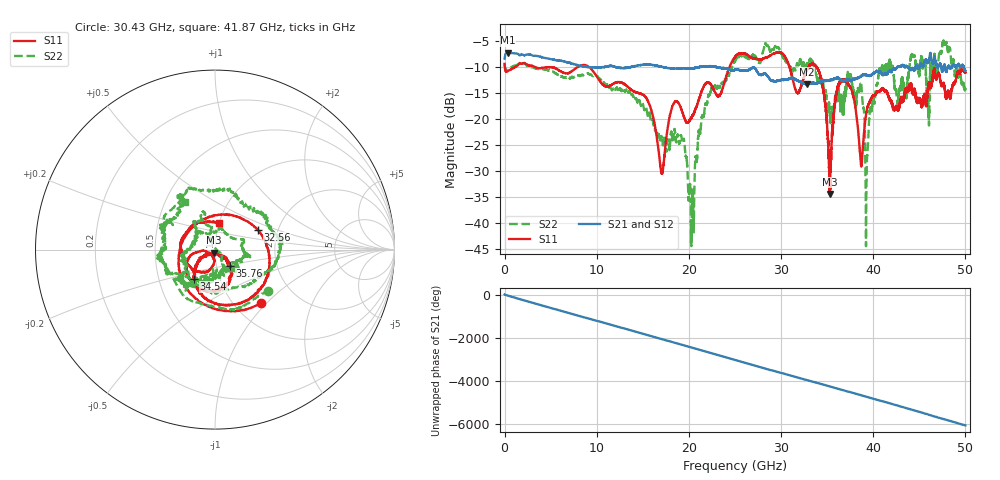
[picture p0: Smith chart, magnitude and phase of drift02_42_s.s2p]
!Created with skrf (http://scikit-rf.org).
# Hz S RI R 50.0
!freq ReS11 ImS11 ReS21 ImS21 ReS12 ImS12 ReS22 ImS22
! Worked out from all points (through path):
!   10001 points, 300 kHz to 50 GHz, reference 50 ohm
!   highest |S21| = -7.31 dB at 325.3 MHz (marker M1); lowest = -13.4 dB at 32.77 GHz (marker M2)
!   group delay of S21, straight-line fit = 335 ps
!   lowest |S11| = -34.5 dB at 35.26 GHz (marker M3), VSWR 1.04, Z = 49.2 - j1.7 ohm
!   |S11| at or under -10 dB: 3.226 GHz to 8.006 GHz (4.78 GHz wide, 85.1 % of centre); 9.106 GHz to 24.41 GHz (15.31 GHz wide, 91.3 % of centre); 33.83 GHz to end of sweep (the widest 3 of 7)
!   |S22| runs from -44.5 to -5.0 dB; largest |S21 - S12| = 0.013
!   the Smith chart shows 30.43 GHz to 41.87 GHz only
!   S11 on the Smith chart (normalised r, x): 30.43 GHz: 1.31, -0.93; 32.56 GHz: 1.57, +0.38; 34.54 GHz: 0.75, -0.26; 35.76 GHz: 1.16, -0.21; 41.87 GHz: 1.00, +0.30
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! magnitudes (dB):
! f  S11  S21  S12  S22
! 300 kHz  -9.5  -8.5  -8.4  -9.4
! 325.3 MHz  -10.9  -7.3  -7.3  -10.5
! 8.335 GHz  -9.7  -9.9  -9.9  -11.6
! 16.67 GHz  -25.6  -9.9  -9.9  -23.0
! 19.31 GHz  -18.9  -10.4  -10.4  -24.5
! 20.35 GHz  -19.5  -10.4  -10.3  -34.6
! 21.93 GHz  -13.1  -10.0  -10.0  -17.3
! 25 GHz  -8.1  -10.6  -10.6  -9.0
! 30.43 GHz  -8.1  -12.5  -12.5  -8.5
! 32.56 GHz  -11.6  -13.2  -13.3  -10.1
! 32.77 GHz  -10.8  -13.4  -13.4  -9.8
! 33.34 GHz  -9.6  -13.1  -13.2  -9.0
! 34.54 GHz  -13.9  -12.7  -12.7  -12.6
! 35.26 GHz  -34.5  -12.6  -12.6  -18.4
! 35.76 GHz  -18.3  -12.3  -12.4  -18.1
! 37.24 GHz  -13.3  -12.6  -12.5  -11.9
! 38.54 GHz  -25.9  -12.0  -12.0  -14.1
! 39.31 GHz  -18.2  -11.6  -11.6  -28.3
! 41.67 GHz  -15.8  -10.9  -11.1  -9.6
! 41.87 GHz  -16.5  -10.9  -10.9  -10.1
! 47.77 GHz  -14.5  -9.8  -9.8  -5.5
! 50 GHz  -11.1  -10.8  -10.8  -14.1
